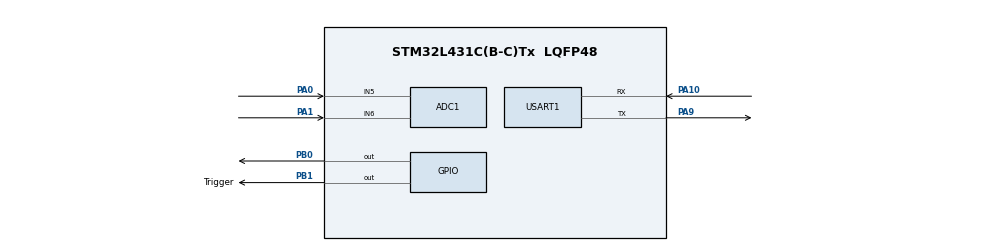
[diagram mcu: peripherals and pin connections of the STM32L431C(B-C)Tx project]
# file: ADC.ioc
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ADC1.Channel-8\#ChannelRegularConversion=ADC_CHANNEL_5
ADC1.NbrOfConversionFlag=1
ADC1.OffsetNumber-8\#ChannelRegularConversion=ADC_OFFSET_NONE
ADC1.Rank-8\#ChannelRegularConversion=1
ADC1.SamplingTime-8\#ChannelRegularConversion=ADC_SAMPLETIME_2CYCLES_5
ADC1.master=1
Mcu.Family=STM32L4
Mcu.Name=STM32L431C(B-C)Tx
Mcu.Package=LQFP48
NVIC.PriorityGroup=NVIC_PRIORITYGROUP_4
NVIC.RTC_WKUP_IRQn=true\:0\:0\:false\:false\:true\:true
PA0.Signal=ADCx_IN5
PA1.Signal=ADCx_IN6
PA10.Mode=Asynchronous
PA10.Signal=USART1_RX
PA9.Mode=Asynchronous
PA9.Signal=USART1_TX
PB0.GPIO_PuPd=GPIO_PULLUP
PB0.Signal=GPIO_Output
PB1.GPIO_Label=Trigger
PB1.GPIO_PuPd=GPIO_PULLUP
PB1.Signal=GPIO_Output
ProjectManager.HeapSize=0x200
ProjectManager.StackSize=0x400
ProjectManager.TargetToolchain=TrueSTUDIO
RCC.ADCFreq_Value=32000000
RCC.HSE_VALUE=8000000
RCC.HSI48_VALUE=48000000
RCC.HSI_VALUE=16000000
RCC.LSE_VALUE=32768
RCC.MSI_VALUE=4000000
RCC.PLLSAI1N=16
RCC.VCOOutputFreq_Value=32000000
RTC.WakeUpClock-WakeUp=RTC_WAKEUPCLOCK_CK_SPRE_16BITS
RTC.WakeUpCounter-WakeUp=5
SH.ADCx_IN5.0=ADC1_IN5,IN5-Single-Ended
SH.ADCx_IN6.0=ADC1_IN6,IN6-Single-Ended
USART1.VirtualMode-Asynchronous=VM_ASYNC
USART1.WordLength=WORDLENGTH_8B
VP_RTC_VS_RTC_Activate.Mode=RTC_Enabled
VP_RTC_VS_RTC_Calendar.Mode=RTC_Calendar
VP_RTC_VS_RTC_WakeUp_intern.Mode=WakeUp
board=ADC

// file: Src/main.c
/**
  ******************************************************************************
  * @file           : main.c
  * @brief          : Main program body
  ******************************************************************************
  ** This notice applies to any and all portions of this file
  * that are not between comment pairs USER CODE BEGIN and
  * USER CODE END. Other portions of this file, whether
  * inserted by the user or by software development tools
  * are owned by their respective copyright owners.
  *
  * COPYRIGHT(c) 2018 STMicroelectronics
  *
  * Redistribution and use in source and binary forms, with or without modification,
  * are permitted provided that the following conditions are met:
  *   1. Redistributions of source code must retain the above copyright notice,
  *      this list of conditions and the following disclaimer.
  *   2. Redistributions in binary form must reproduce the above copyright notice,
  *      this list of conditions and the following disclaimer in the documentation
  *      and/or other materials provided with the distribution.
  *   3. Neither the name of STMicroelectronics nor the names of its contributors
  *      may be used to endorse or promote products derived from this software
  *      without specific prior written permission.
  *
  * THIS SOFTWARE IS PROVIDED BY THE COPYRIGHT HOLDERS AND CONTRIBUTORS "AS IS"
  * AND ANY EXPRESS OR IMPLIED WARRANTIES, INCLUDING, BUT NOT LIMITED TO, THE
  * IMPLIED WARRANTIES OF MERCHANTABILITY AND FITNESS FOR A PARTICULAR PURPOSE ARE
  * DISCLAIMED. IN NO EVENT SHALL THE COPYRIGHT HOLDER OR CONTRIBUTORS BE LIABLE
  * FOR ANY DIRECT, INDIRECT, INCIDENTAL, SPECIAL, EXEMPLARY, OR CONSEQUENTIAL
  * DAMAGES (INCLUDING, BUT NOT LIMITED TO, PROCUREMENT OF SUBSTITUTE GOODS OR
  * SERVICES; LOSS OF USE, DATA, OR PROFITS; OR BUSINESS INTERRUPTION) HOWEVER
  * CAUSED AND ON ANY THEORY OF LIABILITY, WHETHER IN CONTRACT, STRICT LIABILITY,
  * OR TORT (INCLUDING NEGLIGENCE OR OTHERWISE) ARISING IN ANY WAY OUT OF THE USE
  * OF THIS SOFTWARE, EVEN IF ADVISED OF THE POSSIBILITY OF SUCH DAMAGE.
  *
  ******************************************************************************
  */
#include "main.h"
#include "stm32l4xx_hal.h"
#include "adc.h"
#include "rtc.h"
#include "usart.h"
#include "gpio.h"

/* USER CODE BEGIN Includes */
#include "stm32l4xx_hal_adc.h"
#include "string.h"
#include "stdio.h"
#include "float.h"
#include "math.h"
/* USER CODE END Includes */

/* USER CODE BEGIN PV */
ADC_ChannelConfTypeDef sConfig;
/* Private variables ---------------------------------------------------------*/

/* USER CODE END PV */

void SystemClock_Config(void);

/* USER CODE BEGIN PFP */
/* Private function prototypes -----------------------------------------------*/
uint16_t Read_Analog_Value(void);
void Mensa_debug_Usart1(char texto[32]);
void Error_Handler2(void);

/* USER CODE END PFP */

int main(void)
{
  /* USER CODE BEGIN 1 */
	char aTxBuffer[32]; // Transmit Buffer
	// ADC
	float VADC, Vdd, Idd, totalPower, VDU; // Analogue Values
	float V_Avg = 0;
	int ADC_SamplesV[15];
	int N = 0;

  /* USER CODE END 1 */

  /* MCU Configuration----------------------------------------------------------*/

  /* Reset of all peripherals, Initializes the Flash interface and the Systick. */
  HAL_Init();

  /* Configure the system clock */
  SystemClock_Config();

  /* Initialize all configured peripherals */
  MX_GPIO_Init();
  MX_USART1_UART_Init();
  MX_ADC1_Init();
  MX_RTC_Init();
  /* USER CODE BEGIN 2 */
  Mensa_debug_Usart1("----------Start ---------- \n ");
  /* USER CODE END 2 */

  /* Infinite loop */
  while (1)
  {

  /* USER CODE BEGIN 3 */
	  if(HAL_GPIO_ReadPin(GPIOB, GPIO_PIN_1) == 0){
		  HAL_Delay (100); // Time taken to reach ADC
		  HAL_GPIO_WritePin(GPIOB, GPIO_PIN_0, GPIO_PIN_SET); // sets LED for testing
		  HAL_Delay (50);

		  for(N = 0; N < 15; N++){
			  ADC_SamplesV [N] = Read_Analog_Value();
			  V_Avg += ADC_SamplesV [N]; // adds DU to array
			  HAL_Delay(1);
		  }
		  VDU = V_Avg/N; // finds average of all 16 values
		  VADC = (VDU + 57.225)/(1212.3); // DU to VADC, from Excel plot

		  // Piecewise
		  if (VADC < 3.263 && VADC >=  3.067){ // 4-6V
			  Vdd = ((VADC - 3.5862)/(-0.0935))+ 0.55;
		  }
		  else if (VADC < 3.067 && VADC >= 2.843 ){ // 6-8V
			  Vdd = ((VADC - 3.6587)/(-0.1079)) + 0.47;
		  }
		  else if (VADC < 2.843 && VADC >= 2.588){ // 8-10V
			  Vdd = ((VADC - 3.8133)/(-0.127)) + 0.45;
		  }
		  else if (VADC < 2.588 && VADC >= 1.716){ // 10-16V
			  Vdd = ((VADC - 4)/(-0.1444)) + 0.3;
		  }
		  else if (VADC <  1.716 && VADC >= 1.262){ // 16-19V
			  Vdd = ((VADC - 4.0367)/(-0.146));
		  }
		  else if (VADC <= 1.262 && VADC >= 0.806){ // 19-22V
			  Vdd = ((VADC - 4.0466)/(-0.1475));
		  }
		  else if (VADC <= 0.806 && VADC > 0.460){ // 22-24V
			  Vdd = ((VADC - 3.999)/(-0.146));
		  }

		  Idd = Vdd/10.5; // Vdd divided by tested resistance
		  totalPower = (Vdd*Idd); // totalPower calculation

		  // Range Checking
		  if (Vdd < 3.8 || Vdd > 24.2){
			  sprintf(aTxBuffer, "Out of range: value is inaccurate \n  ");
			  Mensa_debug_Usart1(aTxBuffer);
		  }

		  else{
//			  sprintf(aTxBuffer, "VDU = %4.0f \n", VDU);
//			  Mensa_debug_Usart1(aTxBuffer);
//	  		  sprintf(aTxBuffer, "VADC: %4.3fV  \n ", VADC);
//	  		  Mensa_debug_Usart1(aTxBuffer);
	  		  sprintf(aTxBuffer, "Vdd: %4.3fV  \n ", Vdd);
	  		  Mensa_debug_Usart1(aTxBuffer);
	  		  sprintf(aTxBuffer, "Idd: %4.3fA \n \n ", Idd);
	  		  Mensa_debug_Usart1(aTxBuffer);
	  		  sprintf(aTxBuffer, "Power: %4.1fW \n \n ", totalPower);
	  		  Mensa_debug_Usart1(aTxBuffer);
		  }
		  HAL_Delay(100);
		  N = 0;
		  V_Avg = 0;
		  HAL_GPIO_WritePin(GPIOB, GPIO_PIN_1, GPIO_PIN_SET); // Trigger off transistor
	  }
  }
  /* USER CODE END 3 */
}

void SystemClock_Config(void)
{

  RCC_OscInitTypeDef RCC_OscInitStruct;
  RCC_ClkInitTypeDef RCC_ClkInitStruct;
  RCC_PeriphCLKInitTypeDef PeriphClkInit;

    /**Initializes the CPU, AHB and APB busses clocks
    */
  RCC_OscInitStruct.OscillatorType = RCC_OSCILLATORTYPE_LSI|RCC_OSCILLATORTYPE_MSI;
  RCC_OscInitStruct.LSIState = RCC_LSI_ON;
  RCC_OscInitStruct.MSIState = RCC_MSI_ON;
  RCC_OscInitStruct.MSICalibrationValue = 0;
  RCC_OscInitStruct.MSIClockRange = RCC_MSIRANGE_6;
  RCC_OscInitStruct.PLL.PLLState = RCC_PLL_NONE;
  if (HAL_RCC_OscConfig(&RCC_OscInitStruct) != HAL_OK)
  {
    _Error_Handler(__FILE__, __LINE__);
  }

    /**Initializes the CPU, AHB and APB busses clocks
    */
  RCC_ClkInitStruct.ClockType = RCC_CLOCKTYPE_HCLK|RCC_CLOCKTYPE_SYSCLK
                              |RCC_CLOCKTYPE_PCLK1|RCC_CLOCKTYPE_PCLK2;
  RCC_ClkInitStruct.SYSCLKSource = RCC_SYSCLKSOURCE_MSI;
  RCC_ClkInitStruct.AHBCLKDivider = RCC_SYSCLK_DIV1;
  RCC_ClkInitStruct.APB1CLKDivider = RCC_HCLK_DIV1;
  RCC_ClkInitStruct.APB2CLKDivider = RCC_HCLK_DIV1;

  if (HAL_RCC_ClockConfig(&RCC_ClkInitStruct, FLASH_LATENCY_0) != HAL_OK)
  {
    _Error_Handler(__FILE__, __LINE__);
  }

  PeriphClkInit.PeriphClockSelection = RCC_PERIPHCLK_RTC|RCC_PERIPHCLK_USART1
                              |RCC_PERIPHCLK_ADC;
  PeriphClkInit.Usart1ClockSelection = RCC_USART1CLKSOURCE_PCLK2;
  PeriphClkInit.AdcClockSelection = RCC_ADCCLKSOURCE_PLLSAI1;
  PeriphClkInit.RTCClockSelection = RCC_RTCCLKSOURCE_LSI;
  PeriphClkInit.PLLSAI1.PLLSAI1Source = RCC_PLLSOURCE_MSI;
  PeriphClkInit.PLLSAI1.PLLSAI1M = 1;
  PeriphClkInit.PLLSAI1.PLLSAI1N = 16;
  PeriphClkInit.PLLSAI1.PLLSAI1P = RCC_PLLP_DIV7;
  PeriphClkInit.PLLSAI1.PLLSAI1Q = RCC_PLLQ_DIV2;
  PeriphClkInit.PLLSAI1.PLLSAI1R = RCC_PLLR_DIV2;
  PeriphClkInit.PLLSAI1.PLLSAI1ClockOut = RCC_PLLSAI1_ADC1CLK;
  if (HAL_RCCEx_PeriphCLKConfig(&PeriphClkInit) != HAL_OK)
  {
    _Error_Handler(__FILE__, __LINE__);
  }

    /**Configure the main internal regulator output voltage
    */
  if (HAL_PWREx_ControlVoltageScaling(PWR_REGULATOR_VOLTAGE_SCALE1) != HAL_OK)
  {
    _Error_Handler(__FILE__, __LINE__);
  }

    /**Configure the Systick interrupt time
    */
  HAL_SYSTICK_Config(HAL_RCC_GetHCLKFreq()/1000);

    /**Configure the Systick
    */
  HAL_SYSTICK_CLKSourceConfig(SYSTICK_CLKSOURCE_HCLK);

  /* SysTick_IRQn interrupt configuration */
  HAL_NVIC_SetPriority(SysTick_IRQn, 0, 0);
}

/* USER CODE BEGIN 4 */
void HAL_RTCEx_WakeUpTimerEventCallback(RTC_HandleTypeDef *hrtc)
{
	HAL_GPIO_TogglePin(GPIOB, Trigger_Pin);
	return;
}

void Mensa_debug_Usart1(char texto[32])
{
	if(HAL_UART_Transmit(&huart1, (uint8_t*) texto, strlen(texto), 1000)!= HAL_OK)
	{
		Error_Handler2();
	}
	HAL_Delay (50); // si se usa en CALLBACK el Delay cuelga el micro.
	//if used in CALLBACK the Delay hangs the microphone
	return;
}

void Error_Handler2(void)
{
  while(1)
  { }
}

//*** FOR READING IN ANALOG VALUES *** //
uint16_t Read_Analog_Value(void)
{
	uint16_t valor_analog;

	HAL_ADC_Start(&hadc1);
	if (HAL_ADC_PollForConversion(&hadc1,10)!=HAL_OK)
	{}
	valor_analog = HAL_ADC_GetValue(&hadc1);
	//HAL_Delay(100);
	HAL_ADC_Stop(&hadc1);
	return valor_analog ;
}

/* USER CODE END 4 */

void _Error_Handler(char *file, int line)
{
  while(1)
  {
  }
}

/************************ (C) COPYRIGHT STMicroelectronics *****END OF FILE****/
